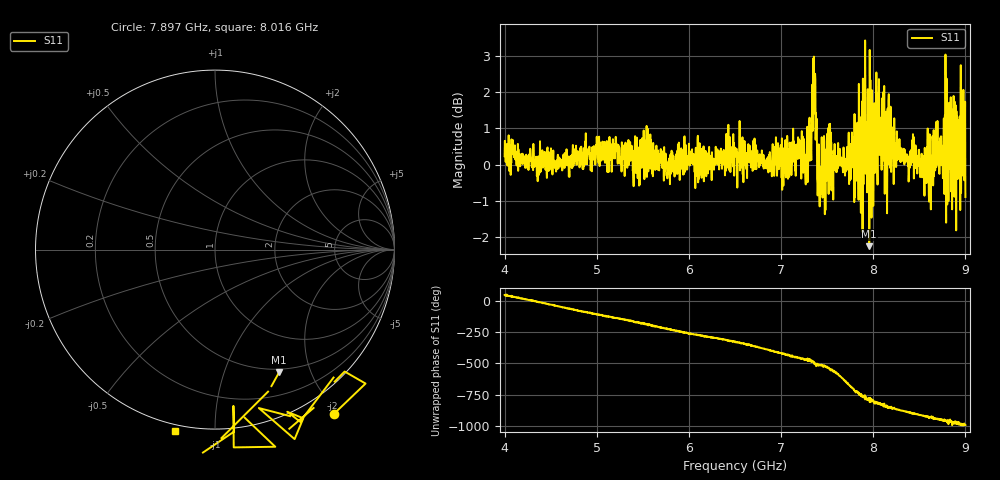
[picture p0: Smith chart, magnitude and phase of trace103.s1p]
! Created with skrf 1.8.0 (http://scikit-rf.org).
# Hz S RI R 50.0
!freq ReS11 ImS11
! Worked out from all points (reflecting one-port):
!   1601 points, 4 GHz to 9 GHz, reference 50 ohm
!   lowest |S11| = -2.3 dB at 7.956 GHz (marker M1), VSWR 7.76, Z = 22.9 - j77.6 ohm
!   phase of S11 starts at 51 deg and turns -1046 deg over the sweep
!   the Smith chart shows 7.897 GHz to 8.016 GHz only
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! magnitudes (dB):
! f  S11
! 4 GHz  0.2
! 4.625 GHz  -0.2
! 5.25 GHz  0.0
! 5.875 GHz  0.4
! 6.5 GHz  0.3
! 7.038 GHz  0.1
! 7.125 GHz  0.1
! 7.278 GHz  -0.1
! 7.362 GHz  2.3
! 7.4 GHz  -0.6
! 7.416 GHz  -0.9
! 7.472 GHz  -0.3
! 7.512 GHz  1.0
! 7.566 GHz  -1.0
! 7.75 GHz  -0.3
! 7.816 GHz  -0.4
! 7.894 GHz  -0.5
! 7.956 GHz  -2.3
! 8.05 GHz  2.0
! 8.069 GHz  0.3
! 8.375 GHz  0.1
! 8.628 GHz  -0.1
! 8.656 GHz  1.0
! 8.766 GHz  1.3
! 8.819 GHz  0.6
! 8.875 GHz  0.6
! 8.972 GHz  0.3
! 9 GHz  -0.9
